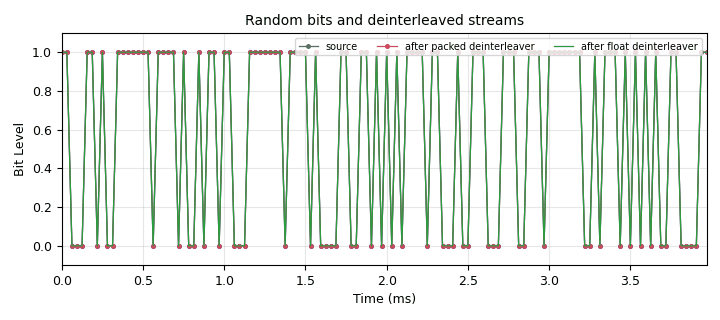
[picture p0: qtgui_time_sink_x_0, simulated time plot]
options:
  parameters:
    author: Johannes Demel
    generate_options: qt_gui
    id: blockinterleaver
    output_language: python
    title: Block Interleaver Example
  states: {}

blocks:
- name: interleaver_indices
  id: variable
  parameters:
    comment: |-
      Example interleaver indices.
      e.g. `np.random.permutation(64)`.
    value: np.reshape(np.arange(64), (4, 16)).T.flatten()
  states: {}
- name: samp_rate
  id: variable
  parameters:
    value: '32000'
  states: {}
- name: analog_random_source_bits
  id: analog_random_source_x
  parameters:
    max: '2'
    min: '0'
    num_samps: '1000'
    repeat: 'True'
    type: byte
  states: {}
- name: blocks_blockinterleaver_bb
  id: blocks_blockinterleaver_xx
  parameters:
    comment: unpacked bits interleaver.
    interleaver_indices: interleaver_indices
    interleaver_mode: interleave
    is_packed: 'False'
    type: byte
  states: {}
- name: blocks_blockinterleaver_bb_packed
  id: blocks_blockinterleaver_xx
  parameters:
    comment: Packed (de)interleaver for bit input only.
    interleaver_indices: interleaver_indices
    interleaver_mode: deinterleave
    is_packed: 'True'
    type: byte
  states: {}
- name: blocks_blockinterleaver_ff
  id: blocks_blockinterleaver_xx
  parameters:
    comment: Float deinterleaver with derived de-interleaver indices.
    interleaver_indices: interleaver_indices
    interleaver_mode: deinterleave
    is_packed: 'True'
    type: float
  states: {}
- name: blocks_char_to_float_bb_deinterleaved
  id: blocks_char_to_float
  parameters:
    scale: '1'
  states: {}
- name: blocks_char_to_float_ff_interleaved
  id: blocks_char_to_float
  parameters:
    scale: '1'
  states: {}
- name: blocks_char_to_float_source
  id: blocks_char_to_float
  parameters:
    scale: '1'
  states: {}
- name: blocks_packed_to_unpacked_deinterleaved
  id: blocks_packed_to_unpacked_xx
  parameters:
    bits_per_chunk: '1'
    endianness: gr.GR_MSB_FIRST
    type: byte
  states: {}
- name: blocks_throttle_0
  id: blocks_throttle
  parameters:
    samples_per_second: samp_rate
    type: byte
  states: {}
- name: blocks_unpacked_to_packed_interleaved
  id: blocks_unpacked_to_packed_xx
  parameters:
    bits_per_chunk: '1'
    endianness: gr.GR_MSB_FIRST
    type: byte
  states: {}
- name: import_0
  id: import
  parameters:
    imports: import numpy as np
  states: {}
- name: qtgui_time_sink_x_0
  id: qtgui_time_sink_x
  parameters:
    grid: 'True'
    label1: source
    label2: after packed deinterleaver
    label3: after float deinterleaver
    marker1: '0'
    marker2: '7'
    name: '"Random bits and deinterleaved streams"'
    nconnections: '3'
    size: '128'
    srate: samp_rate
    type: float
    ylabel: Bit Level
    ymax: '1.1'
    ymin: '-0.1'
    yunit: '"bit"'
  states: {}

connections:
- [analog_random_source_bits, '0', blocks_throttle_0, '0']
- [blocks_blockinterleaver_bb, '0', blocks_char_to_float_ff_interleaved, '0']
- [blocks_blockinterleaver_bb, '0', blocks_unpacked_to_packed_interleaved, '0']
- [blocks_blockinterleaver_bb_packed, '0', blocks_packed_to_unpacked_deinterleaved, '0']
- [blocks_blockinterleaver_ff, '0', qtgui_time_sink_x_0, '2']
- [blocks_char_to_float_bb_deinterleaved, '0', qtgui_time_sink_x_0, '1']
- [blocks_char_to_float_ff_interleaved, '0', blocks_blockinterleaver_ff, '0']
- [blocks_char_to_float_source, '0', qtgui_time_sink_x_0, '0']
- [blocks_packed_to_unpacked_deinterleaved, '0', blocks_char_to_float_bb_deinterleaved, '0']
- [blocks_throttle_0, '0', blocks_blockinterleaver_bb, '0']
- [blocks_throttle_0, '0', blocks_char_to_float_source, '0']
- [blocks_unpacked_to_packed_interleaved, '0', blocks_blockinterleaver_bb_packed, '0']

metadata:
  file_format: 1
  grc_version: v3.11.0.0git-151-ga7ee4c64
